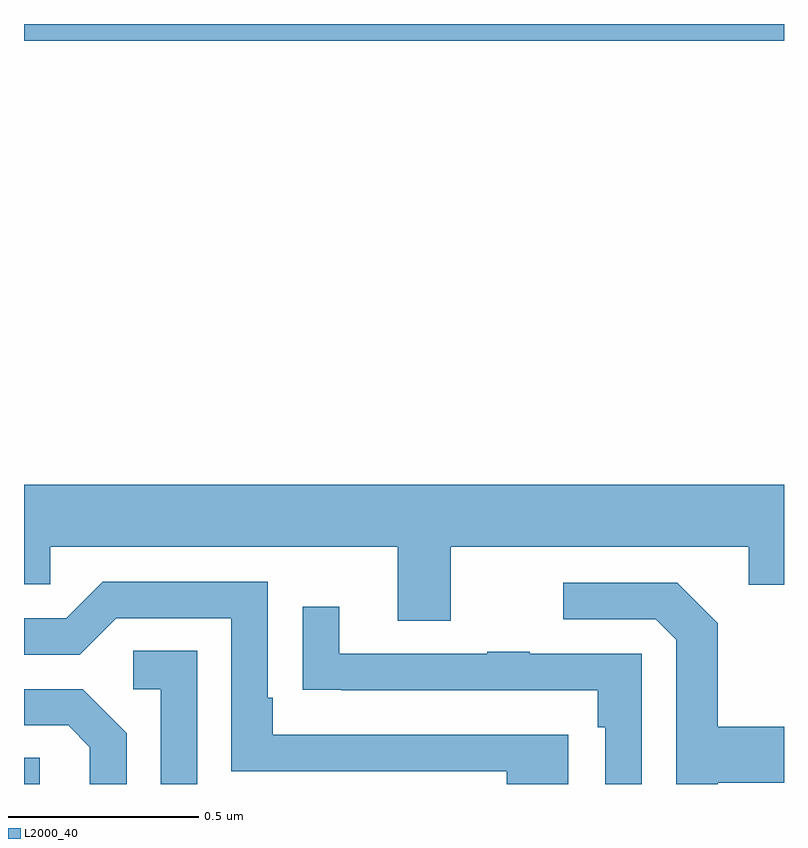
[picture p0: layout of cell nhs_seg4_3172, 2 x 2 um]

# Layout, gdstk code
import gdstk
lib = gdstk.Library(unit=1e-6, precision=1e-09)
def R(c, l, rs):  # rectangles x0, y0, x1, y1
    for r in rs: c.add(gdstk.rectangle(r[:2], r[2:], *l))
def P(c, l, *ps):  # polygons
    for p in ps: c.add(gdstk.Polygon(p, *l))
L2000_40 = (2000, 40)

nhs_seg4_3172 = lib.new_cell('nhs_seg4_3172')
R(nhs_seg4_3172, L2000_40, [(150,758.9,150.042,758.969), (150,760.856,152,760.9)])
P(nhs_seg4_3172, L2000_40, [(151.123,759.524),(151.907,759.524),(151.907,759.425),(152,759.425),(152,759.688),(150,759.688),(150,759.426),(150.069,759.426),(150.069,759.524),(150.983,759.524),(150.983,759.33),(151.123,759.33)],
  [(151.432,759.03),(150.655,759.03),(150.655,759.127),(150.642,759.127),(150.642,759.432),(150.207,759.432),(150.111,759.336),(150,759.336),(150,759.24),(150.147,759.24),(150.243,759.336),(150.546,759.336),(150.546,758.934),(151.271,758.934),(151.271,758.9),(151.432,758.9)],
  [(151.825,758.903),(152,758.903),(152,759.051),(151.825,759.051),(151.825,759.323),(151.719,759.429),(151.419,759.429),(151.419,759.333),(151.662,759.333),(151.716,759.279),(151.716,758.9),(151.825,758.9)],
  [(151.626,759.243),(151.331,759.243),(151.331,759.248),(151.219,759.248),(151.219,759.243),(150.829,759.243),(150.829,759.367),(150.733,759.367),(150.733,759.148),(150.835,759.148),(150.835,759.147),(151.51,759.147),(151.51,759.05),(151.53,759.05),(151.53,758.9),(151.626,758.9)],
  [(150.456,759.251),(150.288,759.251),(150.288,759.15),(150.36,759.15),(150.36,758.9),(150.456,758.9)],
  [(150.27,759.034),(150.154,759.15),(150,759.15),(150,759.054),(150.116,759.054),(150.173,758.997),(150.173,758.9),(150.27,758.9)])

lib.write_gds('nhs_seg4_3172.gds')
